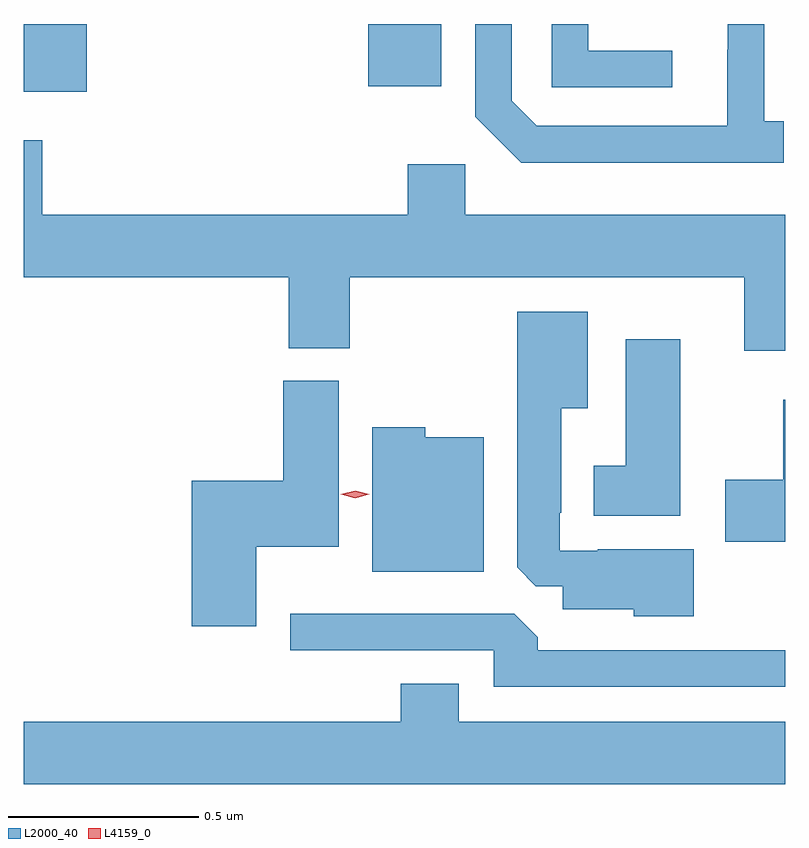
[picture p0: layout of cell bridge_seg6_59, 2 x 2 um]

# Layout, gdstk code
import gdstk
lib = gdstk.Library(unit=1e-6, precision=1e-09)
def R(c, l, rs):  # rectangles x0, y0, x1, y1
    for r in rs: c.add(gdstk.rectangle(r[:2], r[2:], *l))
def P(c, l, *ps):  # polygons
    for p in ps: c.add(gdstk.Polygon(p, *l))
L2000_40 = (2000, 40)
L4159_0 = (4159, 0)

bridge_seg6_59 = lib.new_cell('bridge_seg6_59')
R(bridge_seg6_59, L2000_40, [(1060.217,983.787,1060.382,983.965), (1061.122,983.801,1061.314,983.965)])
P(bridge_seg6_59, L2000_40, [(1061.92,983.895),(1061.7,983.895),(1061.7,983.965),(1061.604,983.965),(1061.604,983.799),(1061.92,983.799)],
  [(1062.214,983.71),(1062.162,983.71),(1062.162,983.965),(1062.066,983.965),(1062.066,983.897),(1062.065,983.897),(1062.065,983.697),(1061.565,983.697),(1061.499,983.763),(1061.499,983.965),(1061.403,983.965),(1061.403,983.721),(1061.524,983.6),(1062.214,983.6)],
  [(1062.217,983.464),(1061.376,983.464),(1061.376,983.596),(1061.225,983.596),(1061.225,983.464),(1060.265,983.464),(1060.265,983.659),(1060.217,983.659),(1060.217,983.3),(1060.913,983.3),(1060.913,983.113),(1061.073,983.113),(1061.073,983.3),(1062.11,983.3),(1062.11,983.106),(1062.217,983.106)],
  [(1061.977,982.585),(1061.725,982.585),(1061.725,982.581),(1061.625,982.581),(1061.625,982.681),(1061.629,982.681),(1061.629,982.955),(1061.698,982.955),(1061.698,983.209),(1061.513,983.209),(1061.513,982.537),(1061.562,982.488),(1061.633,982.488),(1061.633,982.427),(1061.82,982.427),(1061.82,982.409),(1061.977,982.409)],
  [(1061.941,983.137),(1061.798,983.137),(1061.798,982.804),(1061.714,982.804),(1061.714,982.673),(1061.941,982.673)],
  [(1060.828,982.592),(1061.044,982.592),(1061.044,983.028),(1060.898,983.028),(1060.898,982.765),(1060.658,982.765),(1060.658,982.383),(1060.828,982.383)],
  [(1062.217,982.978),(1062.212,982.978),(1062.212,982.767),(1062.06,982.767),(1062.06,982.604),(1062.217,982.604)],
  [(1061.425,982.879),(1061.271,982.879),(1061.271,982.906),(1061.132,982.906),(1061.132,982.526),(1061.425,982.526)],
  [(1062.217,982.32),(1061.567,982.32),(1061.567,982.354),(1061.505,982.416),(1060.917,982.416),(1060.917,982.32),(1061.451,982.32),(1061.451,982.224),(1062.217,982.224)],
  [(1062.217,982.132),(1061.359,982.132),(1061.359,982.231),(1061.207,982.231),(1061.207,982.132),(1060.217,982.132),(1060.217,981.968),(1062.217,981.968)])
P(bridge_seg6_59, L4159_0, [(1061.087,982.719),(1061.049,982.729),(1061.049,982.729),(1061.049,982.729),(1061.087,982.739),(1061.125,982.729),(1061.125,982.729),(1061.125,982.729)])

lib.write_gds('bridge_seg6_59.gds')
